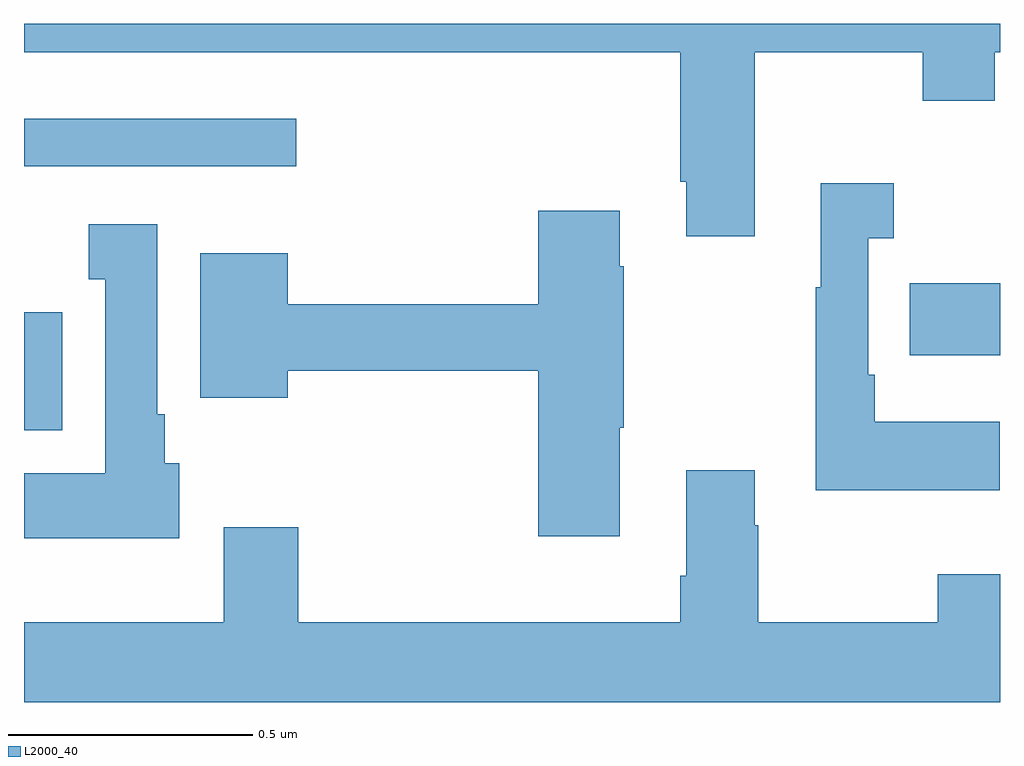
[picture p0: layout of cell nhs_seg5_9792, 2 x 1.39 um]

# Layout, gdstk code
import gdstk
lib = gdstk.Library(unit=1e-6, precision=1e-09)
def R(c, l, rs):  # rectangles x0, y0, x1, y1
    for r in rs: c.add(gdstk.rectangle(r[:2], r[2:], *l))
def P(c, l, *ps):  # polygons
    for p in ps: c.add(gdstk.Polygon(p, *l))
L2000_40 = (2000, 40)

nhs_seg5_9792 = lib.new_cell('nhs_seg5_9792')
R(nhs_seg5_9792, L2000_40, [(238,875.966,238.078,876.208), (239.815,876.119,240,876.267), (238,876.507,238.558,876.604)])
P(nhs_seg5_9792, L2000_40, [(239.497,876.74),(239.842,876.74),(239.842,876.641),(239.989,876.641),(239.989,876.74),(240,876.74),(240,876.799),(238,876.799),(238,876.74),(239.345,876.74),(239.345,876.475),(239.357,876.475),(239.357,876.363),(239.497,876.363)],
  [(239.999,875.983),(239.743,875.983),(239.743,876.079),(239.73,876.079),(239.73,876.359),(239.782,876.359),(239.782,876.472),(239.633,876.472),(239.633,876.259),(239.622,876.259),(239.622,875.843),(239.999,875.843)],
  [(239.221,875.971),(239.229,875.971),(239.229,876.302),(239.221,876.302),(239.221,876.415),(239.054,876.415),(239.054,876.224),(238.54,876.224),(238.54,876.328),(238.361,876.328),(238.361,876.032),(238.54,876.032),(238.54,876.088),(239.054,876.088),(239.054,875.748),(239.221,875.748)],
  [(238.318,875.898),(238.288,875.898),(238.288,875.998),(238.273,875.998),(238.273,876.388),(238.133,876.388),(238.133,876.275),(238.166,876.275),(238.166,875.878),(238,875.878),(238,875.744),(238.318,875.744)],
  [(240,875.671),(239.872,875.671),(239.872,875.572),(239.505,875.572),(239.505,875.771),(239.497,875.771),(239.497,875.884),(239.357,875.884),(239.357,875.668),(239.345,875.668),(239.345,875.572),(238.562,875.572),(238.562,875.767),(238.409,875.767),(238.409,875.572),(238,875.572),(238,875.408),(240,875.408)])

lib.write_gds('nhs_seg5_9792.gds')
